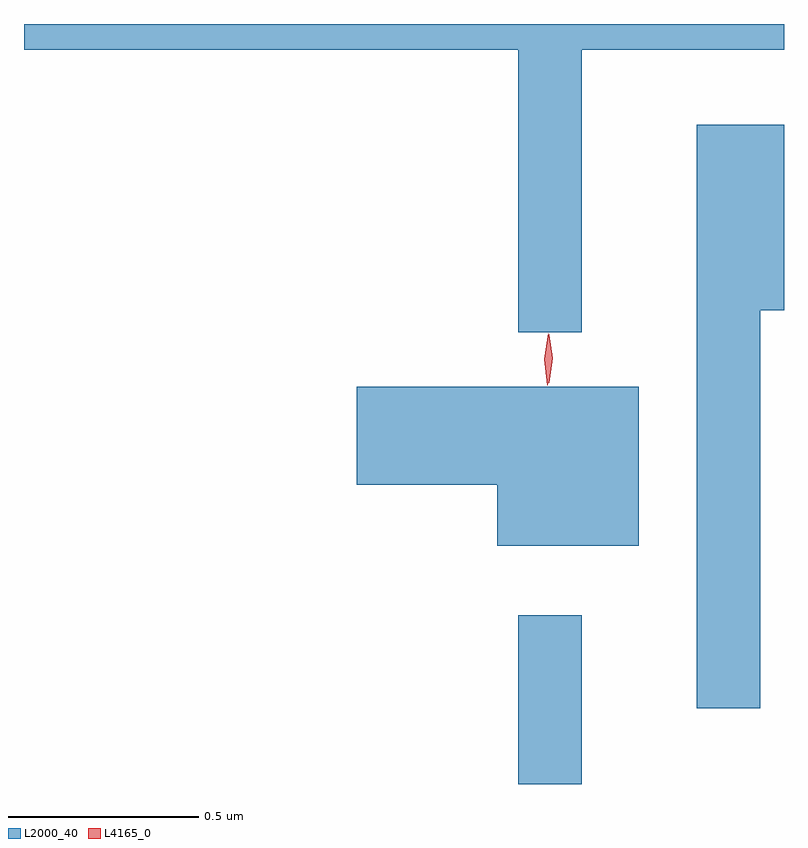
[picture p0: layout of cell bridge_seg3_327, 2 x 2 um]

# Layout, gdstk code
import gdstk
lib = gdstk.Library(unit=1e-6, precision=1e-09)
def R(c, l, rs):  # rectangles x0, y0, x1, y1
    for r in rs: c.add(gdstk.rectangle(r[:2], r[2:], *l))
def P(c, l, *ps):  # polygons
    for p in ps: c.add(gdstk.Polygon(p, *l))
L2000_40 = (2000, 40)
L4165_0 = (4165, 0)

bridge_seg3_327 = lib.new_cell('bridge_seg3_327')
R(bridge_seg3_327, L2000_40, [(562.781,1144.064,562.949,1144.508)])
P(bridge_seg3_327, L2000_40, [(562.949,1145.996),(563.481,1145.996),(563.481,1146.064),(561.481,1146.064),(561.481,1145.996),(562.781,1145.996),(562.781,1145.253),(562.949,1145.253)],
  [(563.419,1145.311),(563.481,1145.311),(563.481,1145.799),(563.251,1145.799),(563.251,1144.263),(563.419,1144.263)],
  [(563.099,1145.109),(562.356,1145.109),(562.356,1144.851),(562.726,1144.851),(562.726,1144.691),(563.099,1144.691)])
P(bridge_seg3_327, L4165_0, [(562.862,1145.12),(562.853,1145.184),(562.862,1145.246),(562.863,1145.247),(562.863,1145.246),(562.873,1145.184),(562.863,1145.12),(562.863,1145.12)],
  [(562.858,1145.114),(562.85,1145.182),(562.86,1145.25),(562.86,1145.25),(562.861,1145.25),(562.87,1145.182),(562.859,1145.114),(562.859,1145.114)])

lib.write_gds('bridge_seg3_327.gds')
